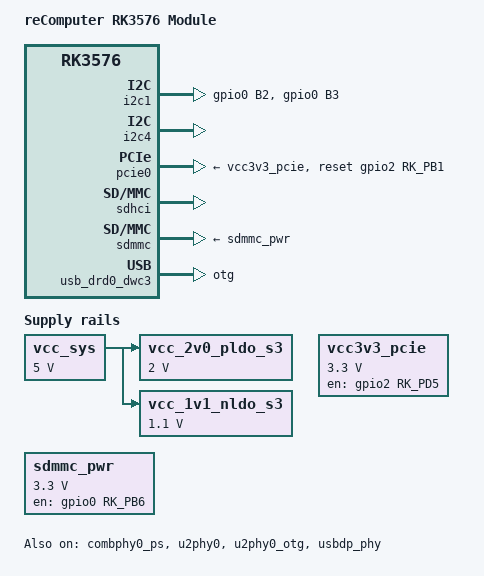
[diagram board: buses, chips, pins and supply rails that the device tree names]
// SPDX-License-Identifier: (GPL-2.0+ OR MIT)
/*
 * Copyright (c) 2024 Rockchip Electronics Co., Ltd.
 * Copyright (c) 2024 Radxa Computer (Shenzhen) Co., Ltd.
 */

/dts-v1/;
#include "rk3576.dtsi"
#include "rk3576-u-boot.dtsi"
#include <dt-bindings/input/input.h>
#include "rockchip/rk3576-rk806.dtsi"

/ {
	model = "reComputer RK3576 Module";
	compatible = "seeed,recomputer-rk3576-module", "rockchip,rk3576";

	/* Board regulators required by rk3576-rk806.dtsi */
	vcc_sys: vcc5v0-sys {
		u-boot,dm-spl;
		compatible = "regulator-fixed";
		regulator-name = "vcc_sys";
		regulator-always-on;
		regulator-boot-on;
		regulator-min-microvolt = <5000000>;
		regulator-max-microvolt = <5000000>;
	};

	vcc_2v0_pldo_s3: vcc-2v0-pldo-s3 {
		u-boot,dm-spl;
		compatible = "regulator-fixed";
		regulator-name = "vcc_2v0_pldo_s3";
		regulator-boot-on;
		regulator-always-on;
		regulator-min-microvolt = <2000000>;
		regulator-max-microvolt = <2000000>;
		vin-supply = <&vcc_sys>;
	};

	vcc_1v1_nldo_s3: vcc-1v1-nldo-s3 {
		u-boot,dm-spl;
		compatible = "regulator-fixed";
		regulator-name = "vcc_1v1_nldo_s3";
		regulator-boot-on;
		regulator-always-on;
		regulator-min-microvolt = <1100000>;
		regulator-max-microvolt = <1100000>;
		vin-supply = <&vcc_sys>;
	};

	vcc3v3_pcie: vcc3v3-pcie {
		u-boot,dm-pre-reloc;
		compatible = "regulator-fixed";
		regulator-name = "vcc3v3_pcie";
		regulator-min-microvolt = <3300000>;
		regulator-max-microvolt = <3300000>;
		enable-active-high;
		gpios = <&gpio2 RK_PD5 GPIO_ACTIVE_HIGH>;
		startup-delay-us = <5000>;
		pinctrl-names = "default";
		pinctrl-0 = <&pcie_pwr_en>;
	};

	sdmmc_pwr: sdmmc-pwr {
		u-boot,dm-spl;
		compatible = "regulator-fixed";
		regulator-name = "sdmmc_pwr";
		regulator-min-microvolt = <3300000>;
		regulator-max-microvolt = <3300000>;
		enable-active-high;
		regulator-boot-on;
		regulator-always-on;
		gpios = <&gpio0 RK_PB6 GPIO_ACTIVE_HIGH>;
		pinctrl-names = "default";
		pinctrl-0 = <&sdmmc_pwr_en>;
	};
};

/* PMIC on I2C1 — enabled by rk3576-rk806.dtsi, add SPL tags */
&i2c1 {
	u-boot,dm-spl;
	pinctrl-names = "default";
	pinctrl-0 = <&i2c1m0_xfer>;
};

&i2c4 {
	status = "okay";
	pinctrl-names = "default";
	pinctrl-0 = <&i2c4m2_xfer>;
	u-boot,dm-pre-reloc;
	u-boot,dm-spl;
};

&combphy0_ps {
	u-boot,dm-pre-reloc;
	status = "okay";
};

&pcie0 {
	u-boot,dm-pre-reloc;
	reset-gpios = <&gpio2 RK_PB1 GPIO_ACTIVE_HIGH>;
	rockchip,skip-scan-in-resume;
	vpcie3v3-supply = <&vcc3v3_pcie>;
	status = "okay";
};

&pcie0_intc {
	u-boot,dm-pre-reloc;
};

&sdhci {
	u-boot,dm-pre-reloc;
	status = "okay";
};

&sfc0 {
	status = "disabled";
};

&sdmmc {
	pinctrl-names = "default";
	pinctrl-0 = <&sdmmc0_clk &sdmmc0_cmd &sdmmc0_det &sdmmc0_bus4>;
	vmmc-supply = <&sdmmc_pwr>;
};

&u2phy0 {
	u-boot,dm-pre-reloc;
	status = "okay";
};

&u2phy0_otg {
	u-boot,dm-pre-reloc;
	status = "okay";
};

&usbdp_phy {
	u-boot,dm-pre-reloc;
	status = "okay";
};

&usb_drd0_dwc3 {
	u-boot,dm-pre-reloc;
	dr_mode = "otg";
	extcon = <&u2phy0>;
	status = "okay";
};


&pinctrl {
	u-boot,dm-pre-reloc;
	u-boot,dm-spl;
	status = "okay";

	i2c1 {
		u-boot,dm-spl;
		i2c1m0_xfer: i2c1m0-xfer {
			u-boot,dm-spl;
			rockchip,pins =
				/* i2c1_scl_m0 */
				<0 RK_PB2 11 &pcfg_pull_none_smt>,
				/* i2c1_sda_m0 */
				<0 RK_PB3 11 &pcfg_pull_none_smt>;
		};
	};

	pcie {
		u-boot,dm-pre-reloc;
		pcie_pwr_en: pcie-pwr-en {
			u-boot,dm-pre-reloc;
			rockchip,pins = <2 RK_PD5 RK_FUNC_GPIO &pcfg_pull_none>;
		};
	};

	sdmmc {
		u-boot,dm-spl;
		sdmmc_pwr_en: sdmmc-pwr-en {
			u-boot,dm-spl;
			rockchip,pins = <0 RK_PB6 RK_FUNC_GPIO &pcfg_pull_none>;
		};
	};
};
